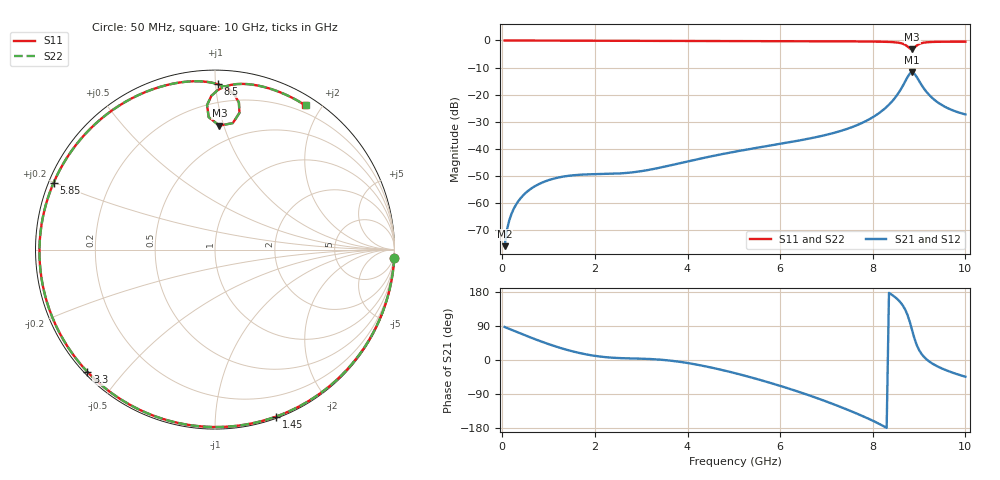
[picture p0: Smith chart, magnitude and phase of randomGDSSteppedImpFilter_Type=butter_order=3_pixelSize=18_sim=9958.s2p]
! freq	dB(S11)	phase(S11)	dB(S12)	phase(S12)
!  dB(S21)	phase(S21)	dB(S22)	phase(S22)
!S-par simulation data
#  GHz  S  DB  R 50
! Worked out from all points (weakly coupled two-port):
!   200 points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, 50 MHz to 10 GHz, reference 50 ohm
!   highest |S21| = -11.75 dB at 8.85 GHz (marker M1); lowest = -76.0 dB at 50 MHz (marker M2)
!   lowest |S11| = -3.2 dB at 8.85 GHz (marker M3), VSWR 5.48, Z = 18.3 + j48.3 ohm
!   |S11| at or under -10 dB: nowhere
!   |S22| runs from -3.2 to 0.0 dB; largest |S21 - S12| = 0
!   S11 on the Smith chart (normalised r, x): 50 MHz: 0, -44; 1.45 GHz: 0.01, -1.43; 3.3 GHz: 0.01, -0.40; 5.85 GHz: 0.01, +0.20; 8.5 GHz: 0.08, +1.02; 10 GHz: 0.11, +1.80
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0.05  -0.00 -2.6  -75.97 87.1  -75.97 87.1  -0.00 -2.6
0.1  -0.01 -5.2  -69.95 84.7  -69.95 84.7  -0.01 -5.2
0.2  -0.01 -10.3  -63.98 79.7  -63.98 79.7  -0.01 -10.3
0.45  -0.03 -22.9  -57.22 67.3  -57.22 67.3  -0.03 -22.9
0.85  -0.05 -42.5  -52.56 48.4  -52.56 48.4  -0.05 -42.5
1.45  -0.08 -69.8  -49.95 25.0  -49.95 25.0  -0.08 -69.9
1.75  -0.09 -82.4  -49.52 16.3  -49.52 16.3  -0.09 -82.4
2.45  -0.11 -108.8  -49.19 5.5  -49.19 5.5  -0.11 -108.8
3.3  -0.14 -136.3  -47.35 1.8  -47.35 1.8  -0.14 -136.3
3.4  -0.14 -139.2  -46.99 1.0  -46.99 1.0  -0.14 -139.2
5.05  -0.20 176.9  -41.00 -35.5  -41.00 -35.5  -0.20 176.9
5.85  -0.24 157.5  -38.62 -62.7  -38.62 -62.7  -0.24 157.5
6.7  -0.28 137.1  -35.99 -96.4  -35.99 -96.4  -0.28 137.1
7.7  -0.36 112.4  -30.99 -143.7  -30.99 -143.7  -0.36 112.3
8.35  -0.55 94.1  -23.71 177.1  -23.71 177.1  -0.55 94.1
8.5  -0.72 88.9  -20.74 164.0  -20.74 164.0  -0.72 88.8
8.75  -2.22 79.9  -13.54 119.0  -13.54 119.0  -2.22 79.8
8.85  -3.21 88.0  -11.75 78.3  -11.75 78.3  -3.22 88.0
8.95  -1.87 93.1  -13.53 39.3  -13.53 39.3  -1.87 93.1
9.15  -0.71 84.6  -18.78 2.9  -18.78 2.9  -0.71 84.6
9.5  -0.47 72.4  -23.94 -22.8  -23.94 -22.8  -0.47 72.4
10  -0.46 57.9  -27.31 -44.1  -27.31 -44.1  -0.46 57.9
